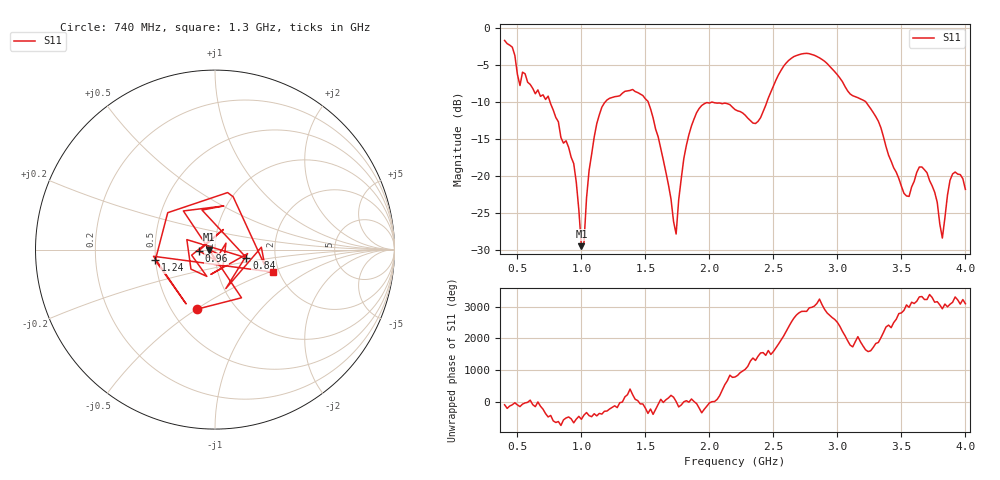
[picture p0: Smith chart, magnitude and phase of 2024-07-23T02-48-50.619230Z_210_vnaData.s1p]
!Created with skrf (http://scikit-rf.org).
# Hz S RI R 50.0
!freq ReS11 ImS11
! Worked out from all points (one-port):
!   181 points, 400 MHz to 4 GHz, reference 50 ohm
!   lowest |S11| = -29.5 dB at 1 GHz (marker M1), VSWR 1.07, Z = 46.8 + j0.00765 ohm
!   |S11| at or under -10 dB: 754.7 MHz to 1.187 GHz (432.5 MHz wide, 44.5 % of centre); 1.521 GHz to 2.45 GHz (928.4 MHz wide, 46.8 % of centre); 3.222 GHz to end of sweep
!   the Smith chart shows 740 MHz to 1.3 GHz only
!   S11 on the Smith chart (normalised r, x): 740 MHz: 0.67, -0.50; 840 MHz: 1.42, -0.13; 960 MHz: 0.83, -0.01; 1.24 GHz: 0.50, -0.07; 1.3 GHz: 1.86, -0.53
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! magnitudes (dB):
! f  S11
! 400 MHz  -1.7
! 520 MHz  -7.8
! 740 MHz  -9.2
! 840 MHz  -14.8
! 860 MHz  -15.6
! 960 MHz  -20.9
! 1 GHz  -29.5
! 1.02 GHz  -29.1
! 1.06 GHz  -19.3
! 1.12 GHz  -12.9
! 1.24 GHz  -9.4
! 1.3 GHz  -9.2
! 1.52 GHz  -9.9
! 1.74 GHz  -27.9
! 1.76 GHz  -23.2
! 1.82 GHz  -15.9
! 1.92 GHz  -10.9
! 2.2 GHz  -11.0
! 2.38 GHz  -12.6
! 2.66 GHz  -3.9
! 2.88 GHz  -4.3
! 3.1 GHz  -8.9
! 3.3 GHz  -12.0
! 3.56 GHz  -22.8
! 3.7 GHz  -19.6
! 3.82 GHz  -28.4
! 3.9 GHz  -19.7
! 4 GHz  -21.8
